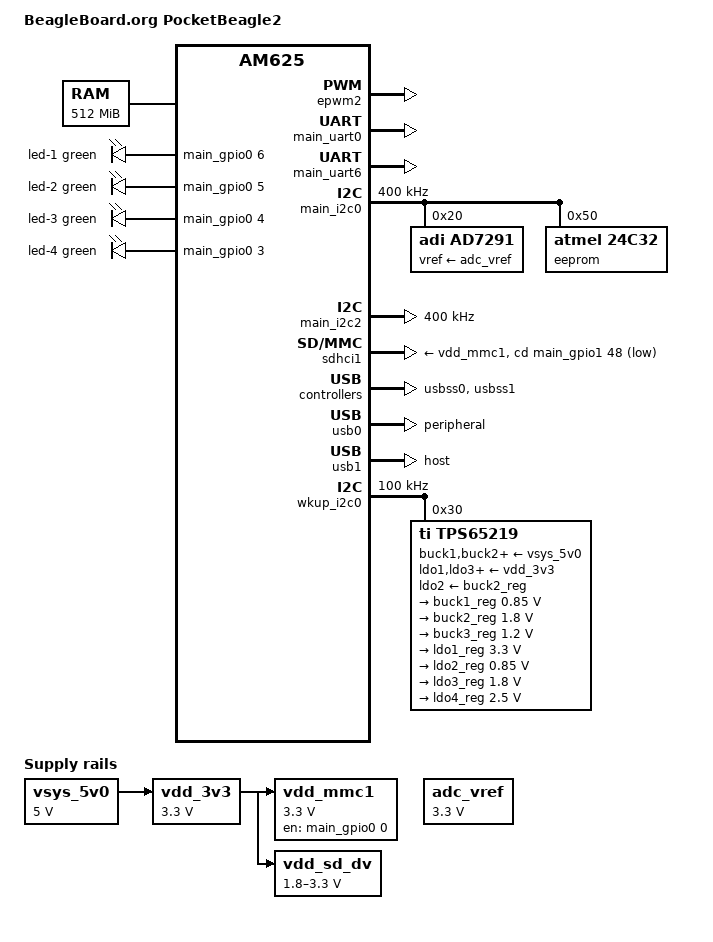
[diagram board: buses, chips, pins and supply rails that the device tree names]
// SPDX-License-Identifier: GPL-2.0-only OR MIT
/*
 * https://www.beagleboard.org/boards/pocketbeagle-2
 *
 * Copyright (C) 2025 Texas Instruments Incorporated - https://www.ti.com/
 * Copyright (C) 2025 Robert Nelson, BeagleBoard.org Foundation
 */

/dts-v1/;

#include <dt-bindings/leds/common.h>
#include <dt-bindings/gpio/gpio.h>
#include <dt-bindings/input/input.h>
#include "k3-am625.dtsi"

/ {
	compatible = "beagle,am62-pocketbeagle2", "ti,am625";
	model = "BeagleBoard.org PocketBeagle2";

	aliases {
		serial0 = &wkup_uart0;
		serial1 = &main_uart1;
		serial2 = &main_uart6;
		serial3 = &main_uart0;
		mmc1 = &sdhci1;
		usb0 = &usb0;
		usb1 = &usb1;
		i2c0 = &main_i2c0;
		i2c2 = &main_i2c2;
		i2c3 = &wkup_i2c0;
	};

	chosen {
		stdout-path = &main_uart6;
	};

	memory@80000000 {
		/* 512MB RAM */
		reg = <0x00000000 0x80000000 0x00000000 0x20000000>;
		device_type = "memory";
		bootph-pre-ram;
	};

	reserved_memory: reserved-memory {
		#address-cells = <2>;
		#size-cells = <2>;
		ranges;

		/* global cma region */
		linux,cma {
			compatible = "shared-dma-pool";
			reusable;
			size = <0x00 0x8000000>;
			linux,cma-default;
		};

		secure_tfa_ddr: tfa@9e780000 {
			reg = <0x00 0x9e780000 0x00 0x80000>;
			alignment = <0x1000>;
			no-map;
		};

		secure_ddr: optee@9e800000 {
			reg = <0x00 0x9e800000 0x00 0x01800000>;
			alignment = <0x1000>;
			no-map;
		};

		wkup_r5fss0_core0_dma_memory_region: memory@9da00000 {
			compatible = "shared-dma-pool";
			reg = <0x00 0x9da00000 0x00 0x100000>;
			no-map;
		};

		wkup_r5fss0_core0_memory_region: memory@9db00000 {
			compatible = "shared-dma-pool";
			reg = <0x00 0x9db00000 0x00 0xc00000>;
			no-map;
		};
	};

	vsys_5v0: regulator-1 {
		compatible = "regulator-fixed";
		regulator-name = "vsys_5v0";
		regulator-min-microvolt = <5000000>;
		regulator-max-microvolt = <5000000>;
		regulator-always-on;
		regulator-boot-on;
		bootph-all;
	};

	vdd_3v3: regulator-2 {
		compatible = "regulator-fixed";
		regulator-name = "vdd_3v3";
		regulator-min-microvolt = <3300000>;
		regulator-max-microvolt = <3300000>;
		vin-supply = <&vsys_5v0>;
		regulator-always-on;
		regulator-boot-on;
		bootph-all;
	};

	vdd_mmc1: regulator-3 {
		compatible = "regulator-fixed";
		regulator-name = "vdd_mmc1";
		pinctrl-names = "default";
		pinctrl-0 = <&vdd_3v3_sd_pins_default>;
		regulator-min-microvolt = <3300000>;
		regulator-max-microvolt = <3300000>;
		regulator-boot-on;
		enable-active-high;
		regulator-always-on;
		vin-supply = <&vdd_3v3>;
		gpio = <&main_gpio0 0 GPIO_ACTIVE_HIGH>;
		bootph-all;
	};

	vdd_sd_dv: regulator-4 {
		compatible = "regulator-gpio";
		regulator-name = "sd_hs200_switch";
		pinctrl-names = "default";
		pinctrl-0 = <&vdd_sd_dv_pins_default>;
		regulator-min-microvolt = <1800000>;
		regulator-max-microvolt = <3300000>;
		regulator-boot-on;
		vin-supply = <&vdd_3v3>;
		gpios = <&main_gpio1 49 GPIO_ACTIVE_HIGH>;
		states = <1800000 0x0>,
			 <3300000 0x1>;
		bootph-all;
	};

	adc_vref: regulator-5 {
		compatible = "regulator-fixed";
		regulator-name = "default";
		regulator-min-microvolt = <3300000>;
		regulator-max-microvolt = <3300000>;
		regulator-boot-on;
	};

	leds {
		compatible = "gpio-leds";
		pinctrl-names = "default";
		pinctrl-0 = <&led_pins_default>;
		bootph-all;

		led-1 {
			function = LED_FUNCTION_HEARTBEAT;
			color = <LED_COLOR_ID_GREEN>;
			linux,default-trigger = "heartbeat";
			gpios = <&main_gpio0 6 GPIO_ACTIVE_HIGH>;
			default-state = "on";
			bootph-all;
		};

		led-2 {
			function = LED_FUNCTION_DISK_ACTIVITY;
			color = <LED_COLOR_ID_GREEN>;
			linux,default-trigger = "mmc1";
			gpios = <&main_gpio0 5 GPIO_ACTIVE_HIGH>;
			default-state = "on";
			bootph-all;
		};

		led-3 {
			function = LED_FUNCTION_INDICATOR;
			color = <LED_COLOR_ID_GREEN>;
			gpios = <&main_gpio0 4 GPIO_ACTIVE_HIGH>;
			default-state = "off";
			bootph-all;
		};

		led-4 {
			function = LED_FUNCTION_INDICATOR;
			color = <LED_COLOR_ID_GREEN>;
			gpios = <&main_gpio0 3 GPIO_ACTIVE_HIGH>;
			default-state = "off";
			bootph-all;
		};
	};
};

&main_pmx0 {
	led_pins_default: led-default-pins {
		pinctrl-single,pins = <
			AM62X_IOPAD(0x000c, PIN_OUTPUT, 7) /* (E25) OSPI0_D0.GPIO0_3 */
			AM62X_IOPAD(0x0010, PIN_OUTPUT, 7) /* (G24) OSPI0_D1.GPIO0_4 */
			AM62X_IOPAD(0x0014, PIN_OUTPUT, 7) /* (F25) OSPI0_D2.GPIO0_5 */
			AM62X_IOPAD(0x0018, PIN_OUTPUT, 7) /* (F24) OSPI0_D3.GPIO0_6 */
		>;
		bootph-all;
	};

	main_i2c0_pins_default: main-i2c0-default-pins {
		pinctrl-single,pins = <
			AM62X_IOPAD(0x01e0, PIN_INPUT_PULLUP, 0) /* (B16) I2C0_SCL */
			AM62X_IOPAD(0x01e4, PIN_INPUT_PULLUP, 0) /* (A16) I2C0_SDA */
		>;
		bootph-all;
	};

	main_i2c2_pins_default: main-i2c2-default-pins {
		pinctrl-single,pins = <
			AM62X_IOPAD(0x00b0, PIN_INPUT_PULLUP, 1) /* (K22) GPMC0_CSn2.I2C2_SCL */
			AM62X_IOPAD(0x00b4, PIN_INPUT_PULLUP, 1) /* (K24) GPMC0_CSn3.I2C2_SDA */
		>;
		bootph-all;
	};

	main_uart0_pins_default: main-uart0-default-pins {
		pinctrl-single,pins = <
			AM62X_IOPAD(0x1c8, PIN_INPUT, 0) /* (D14/A13) UART0_RXD */
			AM62X_IOPAD(0x1cc, PIN_OUTPUT, 0) /* (E14/E11) UART0_TXD */
		>;
		bootph-all;
	};

	main_uart1_pins_default: main-uart1-default-pins {
		pinctrl-single,pins = <
			AM62X_IOPAD(0x194, PIN_INPUT, 2) /* (B19/B18) MCASP0_AXR3.UART1_CTSn */
			AM62X_IOPAD(0x198, PIN_OUTPUT, 2) /* (A19/B17) MCASP0_AXR2.UART1_RTSn */
			AM62X_IOPAD(0x1ac, PIN_INPUT, 2) /* (E19/D15) MCASP0_AFSR.UART1_RXD */
			AM62X_IOPAD(0x1b0, PIN_OUTPUT, 2) /* (A20/D16) MCASP0_ACLKR.UART1_TXD */
		>;
		bootph-all;
	};

	main_uart6_pins_default: main-uart6-default-pins {
		pinctrl-single,pins = <
			AM62X_IOPAD(0x001c, PIN_INPUT, 3) /* (J23) OSPI0_D4.UART6_RXD */
			AM62X_IOPAD(0x0020, PIN_OUTPUT, 3) /* (J25) OSPI0_D5.UART6_TXD */
		>;
	};

	main_mmc1_pins_default: main-mmc1-default-pins {
		pinctrl-single,pins = <
			AM62X_IOPAD(0x23c, PIN_INPUT, 0) /* (A21/C18) MMC1_CMD */
			AM62X_IOPAD(0x234, PIN_INPUT, 0) /* (B22/A20) MMC1_CLK */
			AM62X_IOPAD(0x230, PIN_INPUT, 0) /* (A22/A19) MMC1_DAT0 */
			AM62X_IOPAD(0x22c, PIN_INPUT, 0) /* (B21/B19) MMC1_DAT1 */
			AM62X_IOPAD(0x228, PIN_INPUT, 0) /* (C21/B20) MMC1_DAT2 */
			AM62X_IOPAD(0x224, PIN_INPUT, 0) /* (D22/C19) MMC1_DAT3 */
			AM62X_IOPAD(0x240, PIN_INPUT, 7) /* (D17/C15) MMC1_SDCD.GPIO1_48 */
		>;
		bootph-all;
	};

	vdd_sd_dv_pins_default: vdd-sd-dv-default-pins {
		pinctrl-single,pins = <
			AM62X_IOPAD(0x0244, PIN_OUTPUT, 7) /* (P25) GPMC0_CLK.GPIO1_49 */
		>;
		bootph-all;
	};

	pmic_irq_pins_default: pmic-irq-default-pins {
		pinctrl-single,pins = <
			AM62X_IOPAD(0x01f4, PIN_INPUT_PULLUP, 0) /* (D16) EXTINTn */
		>;
		bootph-all;
	};

	vdd_3v3_sd_pins_default: vdd-3v3-sd-default-pins {
		pinctrl-single,pins = <
			AM62X_IOPAD(0x0000, PIN_OUTPUT, 7) /* (H24) OSPI0_CLK.GPIO0_0 */
		>;
		bootph-all;
	};

	usb1_pins_default: usb1-default-pins {
		pinctrl-single,pins = <
			AM62X_IOPAD(0x0258, PIN_INPUT, 0) /* (F18) USB1_DRVVBUS */
		>;
		bootph-all;
	};

	epwm2_pins_default: epwm2-default-pins {
		pinctrl-single,pins = <
			AM62X_IOPAD(0x01e8, PIN_OUTPUT, 8) /* (B17) I2C1_SCL.EHRPWM2_A */
		>;
	};
};

&epwm2 {
	status = "okay";
	pinctrl-names = "default";
	pinctrl-0 = <&epwm2_pins_default>;
};

&main_uart0 {
	pinctrl-names = "default";
	pinctrl-0 = <&main_uart0_pins_default>;
	bootph-all;
	status = "okay";
};

&main_uart1 {
	pinctrl-names = "default";
	pinctrl-0 = <&main_uart1_pins_default>;
	bootph-pre-ram;
	status = "reserved";
};

&main_uart6 {
	pinctrl-names = "default";
	pinctrl-0 = <&main_uart6_pins_default>;
	bootph-all;
	status = "okay";
};

&main_i2c0 {
	pinctrl-names = "default";
	pinctrl-0 = <&main_i2c0_pins_default>;
	clock-frequency = <400000>;
	bootph-all;
	status = "okay";

	ad7291: adc@20 {
		/* Emulated with MSPM0L1105 */
		compatible = "adi,ad7291";
		reg = <0x20>;
		vref-supply = <&adc_vref>;
	};

	eeprom: eeprom@50 {
		/* Emulated with MSPM0L1105 */
		compatible = "atmel,24c32";
		reg = <0x50>;
	};
};

&main_i2c2 {
	pinctrl-names = "default";
	pinctrl-0 = <&main_i2c2_pins_default>;
	clock-frequency = <400000>;
	bootph-all;
	status = "okay";
};

&mcu_pmx0 {
	wkup_uart0_pins_default: wkup-uart0-default-pins {
		pinctrl-single,pins = <
			AM62X_MCU_IOPAD(0x02c, PIN_INPUT, 0)	/* (C6/A7) WKUP_UART0_CTSn */
			AM62X_MCU_IOPAD(0x030, PIN_OUTPUT, 0)	/* (A4/B4) WKUP_UART0_RTSn */
			AM62X_MCU_IOPAD(0x024, PIN_INPUT, 0)	/* (B4/B5) WKUP_UART0_RXD */
			AM62X_MCU_IOPAD(0x028, PIN_OUTPUT, 0)	/* (C5/C6) WKUP_UART0_TXD */
		>;
		bootph-all;
	};

	wkup_i2c0_pins_default: wkup-i2c0-default-pins {
		pinctrl-single,pins = <
			AM62X_MCU_IOPAD(0x004c, PIN_INPUT_PULLUP, 0)	/* (B9) WKUP_I2C0_SCL */
			AM62X_MCU_IOPAD(0x0050, PIN_INPUT_PULLUP, 0)	/* (A9) WKUP_I2C0_SDA */
		>;
		bootph-all;
	};
};

&sdhci1 {
	/* SD/MMC */
	vmmc-supply = <&vdd_mmc1>;
	vqmmc-supply = <&vdd_sd_dv>;
	pinctrl-names = "default";
	pinctrl-0 = <&main_mmc1_pins_default>;
	disable-wp;
	cd-gpios = <&main_gpio1 48 GPIO_ACTIVE_LOW>;
	cd-debounce-delay-ms = <100>;
	bootph-all;
	ti,fails-without-test-cd;
	status = "okay";
};

&usbss0 {
	bootph-all;
	ti,vbus-divider;
	status = "okay";
};

&usb0 {
	/* This is a Type-C socket, but wired as USB 2.0 */
	dr_mode = "peripheral";
	bootph-all;
};

&usbss1 {
	ti,vbus-divider;
	status = "okay";
};

&usb1 {
	/*
	 * Default set here is compatible with original PocketBeagle,
	 * Expansion boards assumed this was pre-setup as host.
	 */
	dr_mode = "host";
	pinctrl-names = "default";
	pinctrl-0 = <&usb1_pins_default>;
};

&wkup_uart0 {
	/* WKUP UART0 is used by Device Manager firmware */
	pinctrl-names = "default";
	pinctrl-0 = <&wkup_uart0_pins_default>;
	bootph-all;
	status = "reserved";
};

&wkup_i2c0 {
	pinctrl-names = "default";
	pinctrl-0 = <&wkup_i2c0_pins_default>;
	clock-frequency = <100000>;
	bootph-all;
	status = "okay";

	tps65219: pmic@30 {
		compatible = "ti,tps65219";
		reg = <0x30>;
		buck1-supply = <&vsys_5v0>;
		buck2-supply = <&vsys_5v0>;
		buck3-supply = <&vsys_5v0>;
		ldo1-supply = <&vdd_3v3>;
		ldo2-supply = <&buck2_reg>;
		ldo3-supply = <&vdd_3v3>;
		ldo4-supply = <&vdd_3v3>;

		pinctrl-names = "default";
		pinctrl-0 = <&pmic_irq_pins_default>;
		interrupt-parent = <&gic500>;
		interrupts = <GIC_SPI 224 IRQ_TYPE_LEVEL_HIGH>;
		interrupt-controller;
		#interrupt-cells = <1>;

		bootph-all;
		system-power-controller;
		ti,power-button;

		regulators {
			buck1_reg: buck1 {
				regulator-name = "VDD_CORE";
				regulator-min-microvolt = <850000>;
				regulator-max-microvolt = <850000>;
				regulator-boot-on;
				regulator-always-on;
			};

			buck2_reg: buck2 {
				regulator-name = "VDD_1V8";
				regulator-min-microvolt = <1800000>;
				regulator-max-microvolt = <1800000>;
				regulator-boot-on;
				regulator-always-on;
			};

			buck3_reg: buck3 {
				regulator-name = "VDD_1V2";
				regulator-min-microvolt = <1200000>;
				regulator-max-microvolt = <1200000>;
				regulator-boot-on;
				regulator-always-on;
			};

			ldo1_reg: ldo1 {
				/*
				 * Regulator is left as is unused, vdd_sd
				 * is controlled via GPIO with bypass config
				 * as per the NVM configuration
				 */
				regulator-name = "VDD_SD_3V3";
				regulator-min-microvolt = <3300000>;
				regulator-max-microvolt = <3300000>;
				regulator-allow-bypass;
				regulator-boot-on;
				regulator-always-on;
			};

			ldo2_reg: ldo2 {
				regulator-name = "VDDA_0V85";
				regulator-min-microvolt = <850000>;
				regulator-max-microvolt = <850000>;
				regulator-boot-on;
				regulator-always-on;
			};

			ldo3_reg: ldo3 {
				regulator-name = "VDDA_1V8";
				regulator-min-microvolt = <1800000>;
				regulator-max-microvolt = <1800000>;
				regulator-boot-on;
				regulator-always-on;
			};

			ldo4_reg: ldo4 {
				regulator-name = "VDD_2V5";
				regulator-min-microvolt = <2500000>;
				regulator-max-microvolt = <2500000>;
				regulator-boot-on;
				regulator-always-on;
			};
		};
	};
};

#include "k3-am62-ti-ipc-firmware.dtsi"
